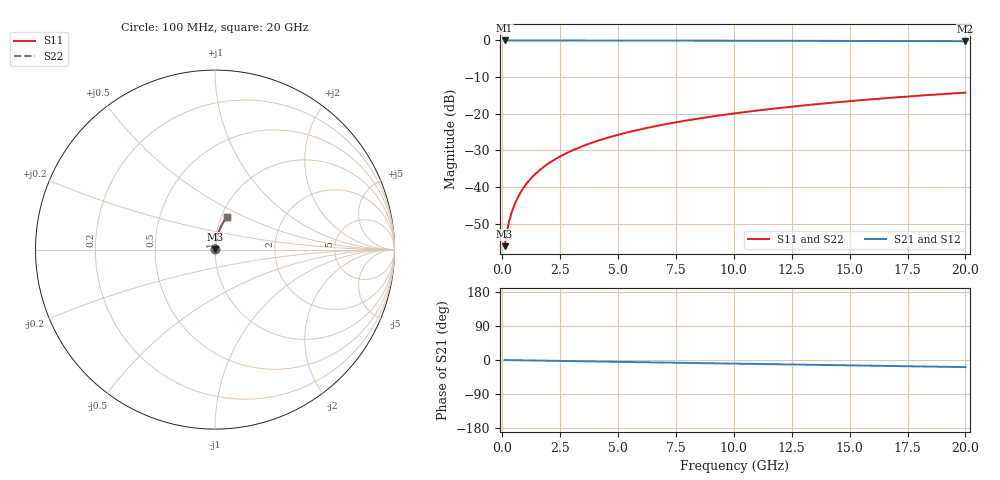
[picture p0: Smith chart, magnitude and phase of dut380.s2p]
! Touchstone file exported from HFSS 2026.1.0
!  File:  C:/ffzhzh/LocalFiles/Ansys_Project_Files/temp_train_TMRDL_380_1783004537_53980.aedt
!  Generated:  11:03:38 PM Jul  2, 2026
!  Design:  TMRDL
!  Project:  temp_train_TMRDL_380_1783004537_53980
! Variables:
!  h_bsmrdl = 2um
!  h_ox = 20um
!  h_rdl = 5um
!  h_sub = 80um
!  h_tmrdl = 4.78um
!  h_tsv = 80um
!  h_via = 3um
!  l_bsmrdl = 300um
!  l_sub = 637.57um
!  l_tmrdl = 237.57um
!  m_sub = 200um
!  pitch = 45.95um
!  r_tsv = 6um
!  s_tmrdl = 10um
!  w_bsmrdl = 18um
!  w_sub = 500um
!  w_tmrdl = 18.56um
!  x_tsv_center1 = 246.85um
!  x_tsv_center2 = 564.85um
!  x_tsv_center3 = 820.98um
!  x_tsv_center4 = 1138.98um
!  x_tsv_center5 = 1395.11um
!  x_tsv_center6 = 1713.11um
# GHz S MA R 50.000000
! Terminal data exported
! Port[1] = TM_RDL1_1_T1
! Port[2] = TM_RDL1_1_T2
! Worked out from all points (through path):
!   200 points, 100 MHz to 20 GHz, reference 50 ohm
!   highest |S21| = -0.01 dB at 100 MHz (marker M1); lowest = -0.2 dB at 20 GHz (marker M2)
!   group delay of S21, straight-line fit = 2.6 ps
!   lowest |S11| = -56.1 dB at 100 MHz (marker M3), VSWR 1.00, Z = 50.1 + j0.112 ohm
!   |S11| at or under -10 dB: start of sweep to end of sweep
!   |S22| runs from -56.1 to -14.2 dB; largest |S21 - S12| = 3.2e-15
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0.1  0.001568 45.7  0.9989 -0.1  0.9989 -0.1  0.001568 45.7
! Gamma 0 0 0 0
! Port Impedance 50 0 50 0
0.2  0.002488 62.4  0.9989 -0.2  0.9989 -0.2  0.002488 62.4
0.3  0.003476 69.7  0.9988 -0.3  0.9988 -0.3  0.003475 69.7
0.4  0.004482 73.8  0.9988 -0.4  0.9988 -0.4  0.004482 73.8
0.5  0.005499 76.4  0.9987 -0.5  0.9987 -0.5  0.005499 76.4
0.6  0.006524 78.2  0.9987 -0.6  0.9987 -0.6  0.006524 78.2
0.8  0.008589 80.5  0.9986 -0.8  0.9986 -0.8  0.008589 80.5
1.1  0.01171 82.3  0.9986 -1.1  0.9986 -1.1  0.01171 82.3
1.5  0.01587 83.3  0.9984 -1.5  0.9984 -1.5  0.01587 83.3
1.8  0.019 83.7  0.9983 -1.8  0.9983 -1.8  0.019 83.7
2.1  0.02211 83.8  0.9982 -2.1  0.9982 -2.1  0.02211 83.8
2.7  0.02831 83.8  0.9978 -2.6  0.9978 -2.6  0.02831 83.8
3.5  0.03652 83.4  0.9973 -3.4  0.9973 -3.4  0.03652 83.4
4.2  0.04364 83.0  0.9968 -4.1  0.9968 -4.1  0.04364 83.0
5  0.05171 82.4  0.9962 -4.8  0.9962 -4.8  0.05171 82.4
5.9  0.06071 81.7  0.9954 -5.7  0.9954 -5.7  0.06071 81.7
6.8  0.06965 80.9  0.9945 -6.5  0.9945 -6.5  0.06965 80.9
8.3  0.08443 79.7  0.993 -8.0  0.993 -8.0  0.08443 79.7
10.1  0.102 78.2  0.991 -9.6  0.991 -9.6  0.102 78.2
13.4  0.1336 75.4  0.9866 -12.7  0.9866 -12.7  0.1336 75.4
16.7  0.1645 72.5  0.9815 -15.8  0.9815 -15.8  0.1645 72.5
20  0.1945 69.7  0.9756 -18.8  0.9756 -18.8  0.1945 69.7
